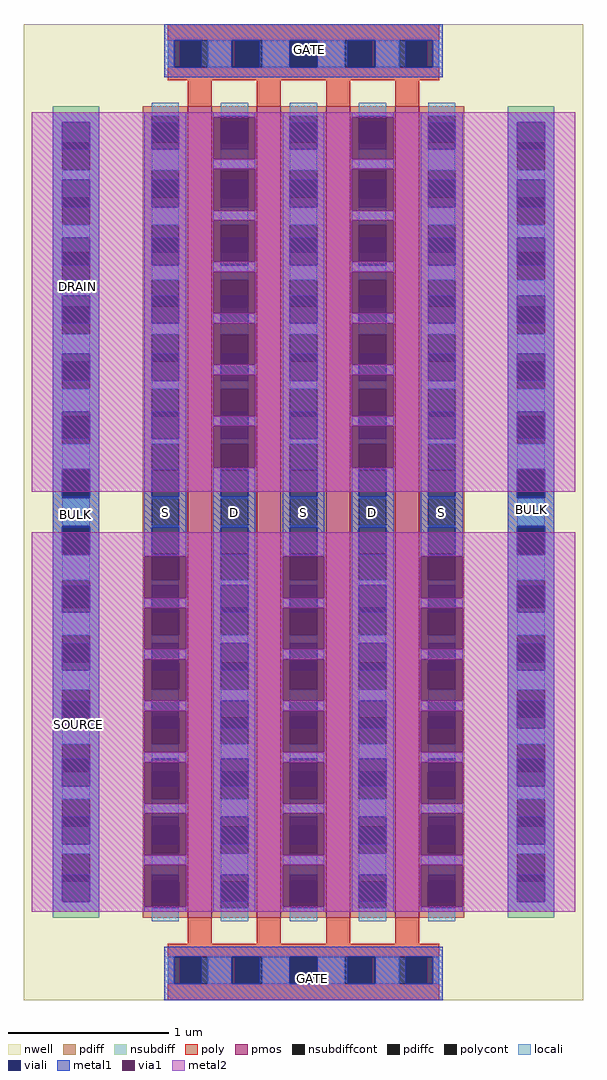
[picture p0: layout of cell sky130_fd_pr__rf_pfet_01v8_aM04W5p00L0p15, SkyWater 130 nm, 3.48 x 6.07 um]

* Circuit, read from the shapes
.subckt sky130_fd_pr__rf_pfet_01v8_aM04W5p00L0p15 BULK DRAIN GATE SOURCE
XM1 DRAIN GATE SOURCE BULK sky130_fd_pr__pfet_01v8 w=5.05 l=0.15 m=4
.ends

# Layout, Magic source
magic
tech sky130A
magscale 1 2
<< nwell >>
rect 0 0 696 1214
<< pmos >>
rect 204 102 234 1112
rect 290 102 320 1112
rect 376 102 406 1112
rect 462 102 492 1112
<< pdiff >>
rect 148 1100 204 1112
rect 148 1066 159 1100
rect 193 1066 204 1100
rect 148 1032 204 1066
rect 148 998 159 1032
rect 193 998 204 1032
rect 148 964 204 998
rect 148 930 159 964
rect 193 930 204 964
rect 148 896 204 930
rect 148 862 159 896
rect 193 862 204 896
rect 148 828 204 862
rect 148 794 159 828
rect 193 794 204 828
rect 148 760 204 794
rect 148 726 159 760
rect 193 726 204 760
rect 148 692 204 726
rect 148 658 159 692
rect 193 658 204 692
rect 148 624 204 658
rect 148 590 159 624
rect 193 590 204 624
rect 148 556 204 590
rect 148 522 159 556
rect 193 522 204 556
rect 148 488 204 522
rect 148 454 159 488
rect 193 454 204 488
rect 148 420 204 454
rect 148 386 159 420
rect 193 386 204 420
rect 148 352 204 386
rect 148 318 159 352
rect 193 318 204 352
rect 148 284 204 318
rect 148 250 159 284
rect 193 250 204 284
rect 148 216 204 250
rect 148 182 159 216
rect 193 182 204 216
rect 148 148 204 182
rect 148 114 159 148
rect 193 114 204 148
rect 148 102 204 114
rect 234 1100 290 1112
rect 234 1066 245 1100
rect 279 1066 290 1100
rect 234 1032 290 1066
rect 234 998 245 1032
rect 279 998 290 1032
rect 234 964 290 998
rect 234 930 245 964
rect 279 930 290 964
rect 234 896 290 930
rect 234 862 245 896
rect 279 862 290 896
rect 234 828 290 862
rect 234 794 245 828
rect 279 794 290 828
rect 234 760 290 794
rect 234 726 245 760
rect 279 726 290 760
rect 234 692 290 726
rect 234 658 245 692
rect 279 658 290 692
rect 234 624 290 658
rect 234 590 245 624
rect 279 590 290 624
rect 234 556 290 590
rect 234 522 245 556
rect 279 522 290 556
rect 234 488 290 522
rect 234 454 245 488
rect 279 454 290 488
rect 234 420 290 454
rect 234 386 245 420
rect 279 386 290 420
rect 234 352 290 386
rect 234 318 245 352
rect 279 318 290 352
rect 234 284 290 318
rect 234 250 245 284
rect 279 250 290 284
rect 234 216 290 250
rect 234 182 245 216
rect 279 182 290 216
rect 234 148 290 182
rect 234 114 245 148
rect 279 114 290 148
rect 234 102 290 114
rect 320 1100 376 1112
rect 320 1066 331 1100
rect 365 1066 376 1100
rect 320 1032 376 1066
rect 320 998 331 1032
rect 365 998 376 1032
rect 320 964 376 998
rect 320 930 331 964
rect 365 930 376 964
rect 320 896 376 930
rect 320 862 331 896
rect 365 862 376 896
rect 320 828 376 862
rect 320 794 331 828
rect 365 794 376 828
rect 320 760 376 794
rect 320 726 331 760
rect 365 726 376 760
rect 320 692 376 726
rect 320 658 331 692
rect 365 658 376 692
rect 320 624 376 658
rect 320 590 331 624
rect 365 590 376 624
rect 320 556 376 590
rect 320 522 331 556
rect 365 522 376 556
rect 320 488 376 522
rect 320 454 331 488
rect 365 454 376 488
rect 320 420 376 454
rect 320 386 331 420
rect 365 386 376 420
rect 320 352 376 386
rect 320 318 331 352
rect 365 318 376 352
rect 320 284 376 318
rect 320 250 331 284
rect 365 250 376 284
rect 320 216 376 250
rect 320 182 331 216
rect 365 182 376 216
rect 320 148 376 182
rect 320 114 331 148
rect 365 114 376 148
rect 320 102 376 114
rect 406 1100 462 1112
rect 406 1066 417 1100
rect 451 1066 462 1100
rect 406 1032 462 1066
rect 406 998 417 1032
rect 451 998 462 1032
rect 406 964 462 998
rect 406 930 417 964
rect 451 930 462 964
rect 406 896 462 930
rect 406 862 417 896
rect 451 862 462 896
rect 406 828 462 862
rect 406 794 417 828
rect 451 794 462 828
rect 406 760 462 794
rect 406 726 417 760
rect 451 726 462 760
rect 406 692 462 726
rect 406 658 417 692
rect 451 658 462 692
rect 406 624 462 658
rect 406 590 417 624
rect 451 590 462 624
rect 406 556 462 590
rect 406 522 417 556
rect 451 522 462 556
rect 406 488 462 522
rect 406 454 417 488
rect 451 454 462 488
rect 406 420 462 454
rect 406 386 417 420
rect 451 386 462 420
rect 406 352 462 386
rect 406 318 417 352
rect 451 318 462 352
rect 406 284 462 318
rect 406 250 417 284
rect 451 250 462 284
rect 406 216 462 250
rect 406 182 417 216
rect 451 182 462 216
rect 406 148 462 182
rect 406 114 417 148
rect 451 114 462 148
rect 406 102 462 114
rect 492 1100 548 1112
rect 492 1066 503 1100
rect 537 1066 548 1100
rect 492 1032 548 1066
rect 492 998 503 1032
rect 537 998 548 1032
rect 492 964 548 998
rect 492 930 503 964
rect 537 930 548 964
rect 492 896 548 930
rect 492 862 503 896
rect 537 862 548 896
rect 492 828 548 862
rect 492 794 503 828
rect 537 794 548 828
rect 492 760 548 794
rect 492 726 503 760
rect 537 726 548 760
rect 492 692 548 726
rect 492 658 503 692
rect 537 658 548 692
rect 492 624 548 658
rect 492 590 503 624
rect 537 590 548 624
rect 492 556 548 590
rect 492 522 503 556
rect 537 522 548 556
rect 492 488 548 522
rect 492 454 503 488
rect 537 454 548 488
rect 492 420 548 454
rect 492 386 503 420
rect 537 386 548 420
rect 492 352 548 386
rect 492 318 503 352
rect 537 318 548 352
rect 492 284 548 318
rect 492 250 503 284
rect 537 250 548 284
rect 492 216 548 250
rect 492 182 503 216
rect 537 182 548 216
rect 492 148 548 182
rect 492 114 503 148
rect 537 114 548 148
rect 492 102 548 114
<< pdiffc >>
rect 159 1066 193 1100
rect 159 998 193 1032
rect 159 930 193 964
rect 159 862 193 896
rect 159 794 193 828
rect 159 726 193 760
rect 159 658 193 692
rect 159 590 193 624
rect 159 522 193 556
rect 159 454 193 488
rect 159 386 193 420
rect 159 318 193 352
rect 159 250 193 284
rect 159 182 193 216
rect 159 114 193 148
rect 245 1066 279 1100
rect 245 998 279 1032
rect 245 930 279 964
rect 245 862 279 896
rect 245 794 279 828
rect 245 726 279 760
rect 245 658 279 692
rect 245 590 279 624
rect 245 522 279 556
rect 245 454 279 488
rect 245 386 279 420
rect 245 318 279 352
rect 245 250 279 284
rect 245 182 279 216
rect 245 114 279 148
rect 331 1066 365 1100
rect 331 998 365 1032
rect 331 930 365 964
rect 331 862 365 896
rect 331 794 365 828
rect 331 726 365 760
rect 331 658 365 692
rect 331 590 365 624
rect 331 522 365 556
rect 331 454 365 488
rect 331 386 365 420
rect 331 318 365 352
rect 331 250 365 284
rect 331 182 365 216
rect 331 114 365 148
rect 417 1066 451 1100
rect 417 998 451 1032
rect 417 930 451 964
rect 417 862 451 896
rect 417 794 451 828
rect 417 726 451 760
rect 417 658 451 692
rect 417 590 451 624
rect 417 522 451 556
rect 417 454 451 488
rect 417 386 451 420
rect 417 318 451 352
rect 417 250 451 284
rect 417 182 451 216
rect 417 114 451 148
rect 503 1066 537 1100
rect 503 998 537 1032
rect 503 930 537 964
rect 503 862 537 896
rect 503 794 537 828
rect 503 726 537 760
rect 503 658 537 692
rect 503 590 537 624
rect 503 522 537 556
rect 503 454 537 488
rect 503 386 537 420
rect 503 318 537 352
rect 503 250 537 284
rect 503 182 537 216
rect 503 114 537 148
<< nsubdiff >>
rect 36 1066 94 1112
rect 36 1032 48 1066
rect 82 1032 94 1066
rect 36 998 94 1032
rect 36 964 48 998
rect 82 964 94 998
rect 36 930 94 964
rect 36 896 48 930
rect 82 896 94 930
rect 36 862 94 896
rect 36 828 48 862
rect 82 828 94 862
rect 36 794 94 828
rect 36 760 48 794
rect 82 760 94 794
rect 36 726 94 760
rect 36 692 48 726
rect 82 692 94 726
rect 36 658 94 692
rect 36 624 48 658
rect 82 624 94 658
rect 36 590 94 624
rect 36 556 48 590
rect 82 556 94 590
rect 36 522 94 556
rect 36 488 48 522
rect 82 488 94 522
rect 36 454 94 488
rect 36 420 48 454
rect 82 420 94 454
rect 36 386 94 420
rect 36 352 48 386
rect 82 352 94 386
rect 36 318 94 352
rect 36 284 48 318
rect 82 284 94 318
rect 36 250 94 284
rect 36 216 48 250
rect 82 216 94 250
rect 36 182 94 216
rect 36 148 48 182
rect 82 148 94 182
rect 36 102 94 148
rect 602 1066 660 1112
rect 602 1032 614 1066
rect 648 1032 660 1066
rect 602 998 660 1032
rect 602 964 614 998
rect 648 964 660 998
rect 602 930 660 964
rect 602 896 614 930
rect 648 896 660 930
rect 602 862 660 896
rect 602 828 614 862
rect 648 828 660 862
rect 602 794 660 828
rect 602 760 614 794
rect 648 760 660 794
rect 602 726 660 760
rect 602 692 614 726
rect 648 692 660 726
rect 602 658 660 692
rect 602 624 614 658
rect 648 624 660 658
rect 602 590 660 624
rect 602 556 614 590
rect 648 556 660 590
rect 602 522 660 556
rect 602 488 614 522
rect 648 488 660 522
rect 602 454 660 488
rect 602 420 614 454
rect 648 420 660 454
rect 602 386 660 420
rect 602 352 614 386
rect 648 352 660 386
rect 602 318 660 352
rect 602 284 614 318
rect 648 284 660 318
rect 602 250 660 284
rect 602 216 614 250
rect 648 216 660 250
rect 602 182 660 216
rect 602 148 614 182
rect 648 148 660 182
rect 602 102 660 148
<< nsubdiffcont >>
rect 48 1032 82 1066
rect 48 964 82 998
rect 48 896 82 930
rect 48 828 82 862
rect 48 760 82 794
rect 48 692 82 726
rect 48 624 82 658
rect 48 556 82 590
rect 48 488 82 522
rect 48 420 82 454
rect 48 352 82 386
rect 48 284 82 318
rect 48 216 82 250
rect 48 148 82 182
rect 614 1032 648 1066
rect 614 964 648 998
rect 614 896 648 930
rect 614 828 648 862
rect 614 760 648 794
rect 614 692 648 726
rect 614 624 648 658
rect 614 556 648 590
rect 614 488 648 522
rect 614 420 648 454
rect 614 352 648 386
rect 614 284 648 318
rect 614 216 648 250
rect 614 148 648 182
<< poly >>
rect 179 1194 517 1214
rect 179 1160 195 1194
rect 229 1160 263 1194
rect 297 1160 331 1194
rect 365 1160 399 1194
rect 433 1160 467 1194
rect 501 1160 517 1194
rect 179 1144 517 1160
rect 204 1112 234 1144
rect 290 1112 320 1144
rect 376 1112 406 1144
rect 462 1112 492 1144
rect 204 70 234 102
rect 290 70 320 102
rect 376 70 406 102
rect 462 70 492 102
rect 179 54 517 70
rect 179 20 195 54
rect 229 20 263 54
rect 297 20 331 54
rect 365 20 399 54
rect 433 20 467 54
rect 501 20 517 54
rect 179 0 517 20
<< polycont >>
rect 195 1160 229 1194
rect 263 1160 297 1194
rect 331 1160 365 1194
rect 399 1160 433 1194
rect 467 1160 501 1194
rect 195 20 229 54
rect 263 20 297 54
rect 331 20 365 54
rect 399 20 433 54
rect 467 20 501 54
<< locali >>
rect 179 1160 187 1194
rect 229 1160 259 1194
rect 297 1160 331 1194
rect 365 1160 399 1194
rect 437 1160 467 1194
rect 509 1160 517 1194
rect 159 1100 193 1116
rect 48 1020 82 1032
rect 48 948 82 964
rect 48 876 82 896
rect 48 804 82 828
rect 48 732 82 760
rect 48 660 82 692
rect 48 590 82 624
rect 48 522 82 554
rect 48 454 82 482
rect 48 386 82 410
rect 48 318 82 338
rect 48 250 82 266
rect 48 182 82 194
rect 159 1032 193 1058
rect 159 964 193 986
rect 159 896 193 914
rect 159 828 193 842
rect 159 760 193 770
rect 159 692 193 698
rect 159 624 193 626
rect 159 588 193 590
rect 159 516 193 522
rect 159 444 193 454
rect 159 372 193 386
rect 159 300 193 318
rect 159 228 193 250
rect 159 156 193 182
rect 159 98 193 114
rect 245 1100 279 1116
rect 245 1032 279 1058
rect 245 964 279 986
rect 245 896 279 914
rect 245 828 279 842
rect 245 760 279 770
rect 245 692 279 698
rect 245 624 279 626
rect 245 588 279 590
rect 245 516 279 522
rect 245 444 279 454
rect 245 372 279 386
rect 245 300 279 318
rect 245 228 279 250
rect 245 156 279 182
rect 245 98 279 114
rect 331 1100 365 1116
rect 331 1032 365 1058
rect 331 964 365 986
rect 331 896 365 914
rect 331 828 365 842
rect 331 760 365 770
rect 331 692 365 698
rect 331 624 365 626
rect 331 588 365 590
rect 331 516 365 522
rect 331 444 365 454
rect 331 372 365 386
rect 331 300 365 318
rect 331 228 365 250
rect 331 156 365 182
rect 331 98 365 114
rect 417 1100 451 1116
rect 417 1032 451 1058
rect 417 964 451 986
rect 417 896 451 914
rect 417 828 451 842
rect 417 760 451 770
rect 417 692 451 698
rect 417 624 451 626
rect 417 588 451 590
rect 417 516 451 522
rect 417 444 451 454
rect 417 372 451 386
rect 417 300 451 318
rect 417 228 451 250
rect 417 156 451 182
rect 417 98 451 114
rect 503 1100 537 1116
rect 503 1032 537 1058
rect 503 964 537 986
rect 503 896 537 914
rect 503 828 537 842
rect 503 760 537 770
rect 503 692 537 698
rect 503 624 537 626
rect 503 588 537 590
rect 503 516 537 522
rect 503 444 537 454
rect 503 372 537 386
rect 503 300 537 318
rect 503 228 537 250
rect 503 156 537 182
rect 614 1020 648 1032
rect 614 948 648 964
rect 614 876 648 896
rect 614 804 648 828
rect 614 732 648 760
rect 614 660 648 692
rect 614 590 648 624
rect 614 522 648 554
rect 614 454 648 482
rect 614 386 648 410
rect 614 318 648 338
rect 614 250 648 266
rect 614 182 648 194
rect 503 98 537 114
rect 179 20 187 54
rect 229 20 259 54
rect 297 20 331 54
rect 365 20 399 54
rect 437 20 467 54
rect 509 20 517 54
<< viali >>
rect 187 1160 195 1194
rect 195 1160 221 1194
rect 259 1160 263 1194
rect 263 1160 293 1194
rect 331 1160 365 1194
rect 403 1160 433 1194
rect 433 1160 437 1194
rect 475 1160 501 1194
rect 501 1160 509 1194
rect 48 1066 82 1092
rect 48 1058 82 1066
rect 48 998 82 1020
rect 48 986 82 998
rect 48 930 82 948
rect 48 914 82 930
rect 48 862 82 876
rect 48 842 82 862
rect 48 794 82 804
rect 48 770 82 794
rect 48 726 82 732
rect 48 698 82 726
rect 48 658 82 660
rect 48 626 82 658
rect 48 556 82 588
rect 48 554 82 556
rect 48 488 82 516
rect 48 482 82 488
rect 48 420 82 444
rect 48 410 82 420
rect 48 352 82 372
rect 48 338 82 352
rect 48 284 82 300
rect 48 266 82 284
rect 48 216 82 228
rect 48 194 82 216
rect 48 148 82 156
rect 48 122 82 148
rect 159 1066 193 1092
rect 159 1058 193 1066
rect 159 998 193 1020
rect 159 986 193 998
rect 159 930 193 948
rect 159 914 193 930
rect 159 862 193 876
rect 159 842 193 862
rect 159 794 193 804
rect 159 770 193 794
rect 159 726 193 732
rect 159 698 193 726
rect 159 658 193 660
rect 159 626 193 658
rect 159 556 193 588
rect 159 554 193 556
rect 159 488 193 516
rect 159 482 193 488
rect 159 420 193 444
rect 159 410 193 420
rect 159 352 193 372
rect 159 338 193 352
rect 159 284 193 300
rect 159 266 193 284
rect 159 216 193 228
rect 159 194 193 216
rect 159 148 193 156
rect 159 122 193 148
rect 245 1066 279 1092
rect 245 1058 279 1066
rect 245 998 279 1020
rect 245 986 279 998
rect 245 930 279 948
rect 245 914 279 930
rect 245 862 279 876
rect 245 842 279 862
rect 245 794 279 804
rect 245 770 279 794
rect 245 726 279 732
rect 245 698 279 726
rect 245 658 279 660
rect 245 626 279 658
rect 245 556 279 588
rect 245 554 279 556
rect 245 488 279 516
rect 245 482 279 488
rect 245 420 279 444
rect 245 410 279 420
rect 245 352 279 372
rect 245 338 279 352
rect 245 284 279 300
rect 245 266 279 284
rect 245 216 279 228
rect 245 194 279 216
rect 245 148 279 156
rect 245 122 279 148
rect 331 1066 365 1092
rect 331 1058 365 1066
rect 331 998 365 1020
rect 331 986 365 998
rect 331 930 365 948
rect 331 914 365 930
rect 331 862 365 876
rect 331 842 365 862
rect 331 794 365 804
rect 331 770 365 794
rect 331 726 365 732
rect 331 698 365 726
rect 331 658 365 660
rect 331 626 365 658
rect 331 556 365 588
rect 331 554 365 556
rect 331 488 365 516
rect 331 482 365 488
rect 331 420 365 444
rect 331 410 365 420
rect 331 352 365 372
rect 331 338 365 352
rect 331 284 365 300
rect 331 266 365 284
rect 331 216 365 228
rect 331 194 365 216
rect 331 148 365 156
rect 331 122 365 148
rect 417 1066 451 1092
rect 417 1058 451 1066
rect 417 998 451 1020
rect 417 986 451 998
rect 417 930 451 948
rect 417 914 451 930
rect 417 862 451 876
rect 417 842 451 862
rect 417 794 451 804
rect 417 770 451 794
rect 417 726 451 732
rect 417 698 451 726
rect 417 658 451 660
rect 417 626 451 658
rect 417 556 451 588
rect 417 554 451 556
rect 417 488 451 516
rect 417 482 451 488
rect 417 420 451 444
rect 417 410 451 420
rect 417 352 451 372
rect 417 338 451 352
rect 417 284 451 300
rect 417 266 451 284
rect 417 216 451 228
rect 417 194 451 216
rect 417 148 451 156
rect 417 122 451 148
rect 503 1066 537 1092
rect 503 1058 537 1066
rect 503 998 537 1020
rect 503 986 537 998
rect 503 930 537 948
rect 503 914 537 930
rect 503 862 537 876
rect 503 842 537 862
rect 503 794 537 804
rect 503 770 537 794
rect 503 726 537 732
rect 503 698 537 726
rect 503 658 537 660
rect 503 626 537 658
rect 503 556 537 588
rect 503 554 537 556
rect 503 488 537 516
rect 503 482 537 488
rect 503 420 537 444
rect 503 410 537 420
rect 503 352 537 372
rect 503 338 537 352
rect 503 284 537 300
rect 503 266 537 284
rect 503 216 537 228
rect 503 194 537 216
rect 503 148 537 156
rect 503 122 537 148
rect 614 1066 648 1092
rect 614 1058 648 1066
rect 614 998 648 1020
rect 614 986 648 998
rect 614 930 648 948
rect 614 914 648 930
rect 614 862 648 876
rect 614 842 648 862
rect 614 794 648 804
rect 614 770 648 794
rect 614 726 648 732
rect 614 698 648 726
rect 614 658 648 660
rect 614 626 648 658
rect 614 556 648 588
rect 614 554 648 556
rect 614 488 648 516
rect 614 482 648 488
rect 614 420 648 444
rect 614 410 648 420
rect 614 352 648 372
rect 614 338 648 352
rect 614 284 648 300
rect 614 266 648 284
rect 614 216 648 228
rect 614 194 648 216
rect 614 148 648 156
rect 614 122 648 148
rect 187 20 195 54
rect 195 20 221 54
rect 259 20 263 54
rect 263 20 293 54
rect 331 20 365 54
rect 403 20 433 54
rect 433 20 437 54
rect 475 20 501 54
rect 501 20 509 54
<< metal1 >>
rect 175 1194 521 1214
rect 175 1160 187 1194
rect 221 1160 259 1194
rect 293 1160 331 1194
rect 365 1160 403 1194
rect 437 1160 475 1194
rect 509 1160 521 1194
rect 175 1148 521 1160
rect 36 1092 94 1104
rect 36 1058 48 1092
rect 82 1058 94 1092
rect 36 1020 94 1058
rect 36 986 48 1020
rect 82 986 94 1020
rect 36 948 94 986
rect 36 914 48 948
rect 82 914 94 948
rect 36 876 94 914
rect 36 842 48 876
rect 82 842 94 876
rect 36 804 94 842
rect 36 770 48 804
rect 82 770 94 804
rect 36 732 94 770
rect 36 698 48 732
rect 82 698 94 732
rect 36 660 94 698
rect 36 626 48 660
rect 82 626 94 660
rect 36 588 94 626
rect 36 554 48 588
rect 82 554 94 588
rect 36 516 94 554
rect 36 482 48 516
rect 82 482 94 516
rect 36 444 94 482
rect 36 410 48 444
rect 82 410 94 444
rect 36 372 94 410
rect 36 338 48 372
rect 82 338 94 372
rect 36 300 94 338
rect 36 266 48 300
rect 82 266 94 300
rect 36 228 94 266
rect 36 194 48 228
rect 82 194 94 228
rect 36 156 94 194
rect 36 122 48 156
rect 82 122 94 156
rect 36 110 94 122
rect 150 1092 202 1104
rect 150 1058 159 1092
rect 193 1058 202 1092
rect 150 1020 202 1058
rect 150 986 159 1020
rect 193 986 202 1020
rect 150 948 202 986
rect 150 914 159 948
rect 193 914 202 948
rect 150 876 202 914
rect 150 842 159 876
rect 193 842 202 876
rect 150 804 202 842
rect 150 770 159 804
rect 193 770 202 804
rect 150 732 202 770
rect 150 698 159 732
rect 193 698 202 732
rect 150 660 202 698
rect 150 626 159 660
rect 193 626 202 660
rect 150 588 202 626
rect 150 554 159 588
rect 193 554 202 588
rect 150 552 202 554
rect 150 488 159 500
rect 193 488 202 500
rect 150 424 159 436
rect 193 424 202 436
rect 150 360 159 372
rect 193 360 202 372
rect 150 300 202 308
rect 150 296 159 300
rect 193 296 202 300
rect 150 232 202 244
rect 150 168 202 180
rect 150 110 202 116
rect 236 1098 288 1104
rect 236 1034 288 1046
rect 236 970 288 982
rect 236 914 245 918
rect 279 914 288 918
rect 236 906 288 914
rect 236 842 245 854
rect 279 842 288 854
rect 236 778 245 790
rect 279 778 288 790
rect 236 714 245 726
rect 279 714 288 726
rect 236 660 288 662
rect 236 626 245 660
rect 279 626 288 660
rect 236 588 288 626
rect 236 554 245 588
rect 279 554 288 588
rect 236 516 288 554
rect 236 482 245 516
rect 279 482 288 516
rect 236 444 288 482
rect 236 410 245 444
rect 279 410 288 444
rect 236 372 288 410
rect 236 338 245 372
rect 279 338 288 372
rect 236 300 288 338
rect 236 266 245 300
rect 279 266 288 300
rect 236 228 288 266
rect 236 194 245 228
rect 279 194 288 228
rect 236 156 288 194
rect 236 122 245 156
rect 279 122 288 156
rect 236 110 288 122
rect 322 1092 374 1104
rect 322 1058 331 1092
rect 365 1058 374 1092
rect 322 1020 374 1058
rect 322 986 331 1020
rect 365 986 374 1020
rect 322 948 374 986
rect 322 914 331 948
rect 365 914 374 948
rect 322 876 374 914
rect 322 842 331 876
rect 365 842 374 876
rect 322 804 374 842
rect 322 770 331 804
rect 365 770 374 804
rect 322 732 374 770
rect 322 698 331 732
rect 365 698 374 732
rect 322 660 374 698
rect 322 626 331 660
rect 365 626 374 660
rect 322 588 374 626
rect 322 554 331 588
rect 365 554 374 588
rect 322 552 374 554
rect 322 488 331 500
rect 365 488 374 500
rect 322 424 331 436
rect 365 424 374 436
rect 322 360 331 372
rect 365 360 374 372
rect 322 300 374 308
rect 322 296 331 300
rect 365 296 374 300
rect 322 232 374 244
rect 322 168 374 180
rect 322 110 374 116
rect 408 1098 460 1104
rect 408 1034 460 1046
rect 408 970 460 982
rect 408 914 417 918
rect 451 914 460 918
rect 408 906 460 914
rect 408 842 417 854
rect 451 842 460 854
rect 408 778 417 790
rect 451 778 460 790
rect 408 714 417 726
rect 451 714 460 726
rect 408 660 460 662
rect 408 626 417 660
rect 451 626 460 660
rect 408 588 460 626
rect 408 554 417 588
rect 451 554 460 588
rect 408 516 460 554
rect 408 482 417 516
rect 451 482 460 516
rect 408 444 460 482
rect 408 410 417 444
rect 451 410 460 444
rect 408 372 460 410
rect 408 338 417 372
rect 451 338 460 372
rect 408 300 460 338
rect 408 266 417 300
rect 451 266 460 300
rect 408 228 460 266
rect 408 194 417 228
rect 451 194 460 228
rect 408 156 460 194
rect 408 122 417 156
rect 451 122 460 156
rect 408 110 460 122
rect 494 1092 546 1104
rect 494 1058 503 1092
rect 537 1058 546 1092
rect 494 1020 546 1058
rect 494 986 503 1020
rect 537 986 546 1020
rect 494 948 546 986
rect 494 914 503 948
rect 537 914 546 948
rect 494 876 546 914
rect 494 842 503 876
rect 537 842 546 876
rect 494 804 546 842
rect 494 770 503 804
rect 537 770 546 804
rect 494 732 546 770
rect 494 698 503 732
rect 537 698 546 732
rect 494 660 546 698
rect 494 626 503 660
rect 537 626 546 660
rect 494 588 546 626
rect 494 554 503 588
rect 537 554 546 588
rect 494 552 546 554
rect 494 488 503 500
rect 537 488 546 500
rect 494 424 503 436
rect 537 424 546 436
rect 494 360 503 372
rect 537 360 546 372
rect 494 300 546 308
rect 494 296 503 300
rect 537 296 546 300
rect 494 232 546 244
rect 494 168 546 180
rect 494 110 546 116
rect 602 1092 660 1104
rect 602 1058 614 1092
rect 648 1058 660 1092
rect 602 1020 660 1058
rect 602 986 614 1020
rect 648 986 660 1020
rect 602 948 660 986
rect 602 914 614 948
rect 648 914 660 948
rect 602 876 660 914
rect 602 842 614 876
rect 648 842 660 876
rect 602 804 660 842
rect 602 770 614 804
rect 648 770 660 804
rect 602 732 660 770
rect 602 698 614 732
rect 648 698 660 732
rect 602 660 660 698
rect 602 626 614 660
rect 648 626 660 660
rect 602 588 660 626
rect 602 554 614 588
rect 648 554 660 588
rect 602 516 660 554
rect 602 482 614 516
rect 648 482 660 516
rect 602 444 660 482
rect 602 410 614 444
rect 648 410 660 444
rect 602 372 660 410
rect 602 338 614 372
rect 648 338 660 372
rect 602 300 660 338
rect 602 266 614 300
rect 648 266 660 300
rect 602 228 660 266
rect 602 194 614 228
rect 648 194 660 228
rect 602 156 660 194
rect 602 122 614 156
rect 648 122 660 156
rect 602 110 660 122
rect 175 54 521 66
rect 175 20 187 54
rect 221 20 259 54
rect 293 20 331 54
rect 365 20 403 54
rect 437 20 475 54
rect 509 20 521 54
rect 175 0 521 20
<< via1 >>
rect 150 516 202 552
rect 150 500 159 516
rect 159 500 193 516
rect 193 500 202 516
rect 150 482 159 488
rect 159 482 193 488
rect 193 482 202 488
rect 150 444 202 482
rect 150 436 159 444
rect 159 436 193 444
rect 193 436 202 444
rect 150 410 159 424
rect 159 410 193 424
rect 193 410 202 424
rect 150 372 202 410
rect 150 338 159 360
rect 159 338 193 360
rect 193 338 202 360
rect 150 308 202 338
rect 150 266 159 296
rect 159 266 193 296
rect 193 266 202 296
rect 150 244 202 266
rect 150 228 202 232
rect 150 194 159 228
rect 159 194 193 228
rect 193 194 202 228
rect 150 180 202 194
rect 150 156 202 168
rect 150 122 159 156
rect 159 122 193 156
rect 193 122 202 156
rect 150 116 202 122
rect 236 1092 288 1098
rect 236 1058 245 1092
rect 245 1058 279 1092
rect 279 1058 288 1092
rect 236 1046 288 1058
rect 236 1020 288 1034
rect 236 986 245 1020
rect 245 986 279 1020
rect 279 986 288 1020
rect 236 982 288 986
rect 236 948 288 970
rect 236 918 245 948
rect 245 918 279 948
rect 279 918 288 948
rect 236 876 288 906
rect 236 854 245 876
rect 245 854 279 876
rect 279 854 288 876
rect 236 804 288 842
rect 236 790 245 804
rect 245 790 279 804
rect 279 790 288 804
rect 236 770 245 778
rect 245 770 279 778
rect 279 770 288 778
rect 236 732 288 770
rect 236 726 245 732
rect 245 726 279 732
rect 279 726 288 732
rect 236 698 245 714
rect 245 698 279 714
rect 279 698 288 714
rect 236 662 288 698
rect 322 516 374 552
rect 322 500 331 516
rect 331 500 365 516
rect 365 500 374 516
rect 322 482 331 488
rect 331 482 365 488
rect 365 482 374 488
rect 322 444 374 482
rect 322 436 331 444
rect 331 436 365 444
rect 365 436 374 444
rect 322 410 331 424
rect 331 410 365 424
rect 365 410 374 424
rect 322 372 374 410
rect 322 338 331 360
rect 331 338 365 360
rect 365 338 374 360
rect 322 308 374 338
rect 322 266 331 296
rect 331 266 365 296
rect 365 266 374 296
rect 322 244 374 266
rect 322 228 374 232
rect 322 194 331 228
rect 331 194 365 228
rect 365 194 374 228
rect 322 180 374 194
rect 322 156 374 168
rect 322 122 331 156
rect 331 122 365 156
rect 365 122 374 156
rect 322 116 374 122
rect 408 1092 460 1098
rect 408 1058 417 1092
rect 417 1058 451 1092
rect 451 1058 460 1092
rect 408 1046 460 1058
rect 408 1020 460 1034
rect 408 986 417 1020
rect 417 986 451 1020
rect 451 986 460 1020
rect 408 982 460 986
rect 408 948 460 970
rect 408 918 417 948
rect 417 918 451 948
rect 451 918 460 948
rect 408 876 460 906
rect 408 854 417 876
rect 417 854 451 876
rect 451 854 460 876
rect 408 804 460 842
rect 408 790 417 804
rect 417 790 451 804
rect 451 790 460 804
rect 408 770 417 778
rect 417 770 451 778
rect 451 770 460 778
rect 408 732 460 770
rect 408 726 417 732
rect 417 726 451 732
rect 451 726 460 732
rect 408 698 417 714
rect 417 698 451 714
rect 451 698 460 714
rect 408 662 460 698
rect 494 516 546 552
rect 494 500 503 516
rect 503 500 537 516
rect 537 500 546 516
rect 494 482 503 488
rect 503 482 537 488
rect 537 482 546 488
rect 494 444 546 482
rect 494 436 503 444
rect 503 436 537 444
rect 537 436 546 444
rect 494 410 503 424
rect 503 410 537 424
rect 537 410 546 424
rect 494 372 546 410
rect 494 338 503 360
rect 503 338 537 360
rect 537 338 546 360
rect 494 308 546 338
rect 494 266 503 296
rect 503 266 537 296
rect 537 266 546 296
rect 494 244 546 266
rect 494 228 546 232
rect 494 194 503 228
rect 503 194 537 228
rect 537 194 546 228
rect 494 180 546 194
rect 494 156 546 168
rect 494 122 503 156
rect 503 122 537 156
rect 537 122 546 156
rect 494 116 546 122
<< metal2 >>
rect 10 1098 686 1104
rect 10 1046 236 1098
rect 288 1046 408 1098
rect 460 1046 686 1098
rect 10 1034 686 1046
rect 10 982 236 1034
rect 288 982 408 1034
rect 460 982 686 1034
rect 10 970 686 982
rect 10 918 236 970
rect 288 918 408 970
rect 460 918 686 970
rect 10 906 686 918
rect 10 854 236 906
rect 288 854 408 906
rect 460 854 686 906
rect 10 842 686 854
rect 10 790 236 842
rect 288 790 408 842
rect 460 790 686 842
rect 10 778 686 790
rect 10 726 236 778
rect 288 726 408 778
rect 460 726 686 778
rect 10 714 686 726
rect 10 662 236 714
rect 288 662 408 714
rect 460 662 686 714
rect 10 632 686 662
rect 10 552 686 582
rect 10 500 150 552
rect 202 500 322 552
rect 374 500 494 552
rect 546 500 686 552
rect 10 488 686 500
rect 10 436 150 488
rect 202 436 322 488
rect 374 436 494 488
rect 546 436 686 488
rect 10 424 686 436
rect 10 372 150 424
rect 202 372 322 424
rect 374 372 494 424
rect 546 372 686 424
rect 10 360 686 372
rect 10 308 150 360
rect 202 308 322 360
rect 374 308 494 360
rect 546 308 686 360
rect 10 296 686 308
rect 10 244 150 296
rect 202 244 322 296
rect 374 244 494 296
rect 546 244 686 296
rect 10 232 686 244
rect 10 180 150 232
rect 202 180 322 232
rect 374 180 494 232
rect 546 180 686 232
rect 10 168 686 180
rect 10 116 150 168
rect 202 116 322 168
rect 374 116 494 168
rect 546 116 686 168
rect 10 110 686 116
<< labels >>
flabel comment s 520 607 520 607 0 FreeSans 300 0 0 0 S
flabel comment s 434 607 434 607 0 FreeSans 300 0 0 0 D
flabel comment s 348 607 348 607 0 FreeSans 300 0 0 0 S
flabel comment s 262 607 262 607 0 FreeSans 300 0 0 0 D
flabel comment s 176 607 176 607 0 FreeSans 300 0 0 0 S
flabel comment s 176 607 176 607 0 FreeSans 300 0 0 0 S
flabel comment s 262 607 262 607 0 FreeSans 300 0 0 0 S
flabel comment s 348 607 348 607 0 FreeSans 300 0 0 0 S
flabel comment s 434 607 434 607 0 FreeSans 300 0 0 0 S
flabel metal1 s 326 1170 384 1195 0 FreeSans 100 0 0 0 GATE
port 3 nsew
flabel metal1 s 330 14 388 39 0 FreeSans 100 0 0 0 GATE
port 3 nsew
flabel metal1 s 614 605 648 616 0 FreeSans 100 0 0 0 BULK
port 1 nsew
flabel metal1 s 48 598 82 609 0 FreeSans 100 0 0 0 BULK
port 1 nsew
flabel metal2 s 60 855 75 921 0 FreeSans 100 0 0 0 DRAIN
port 2 nsew
flabel metal2 s 61 311 75 374 0 FreeSans 100 0 0 0 SOURCE
port 4 nsew
<< properties >>
string GDS_FILE $PDKPATH/libs.ref/sky130_fd_pr/gds/sky130_fd_pr.gds
string GDS_END 9447532
string GDS_START 9425630
<< end >>
